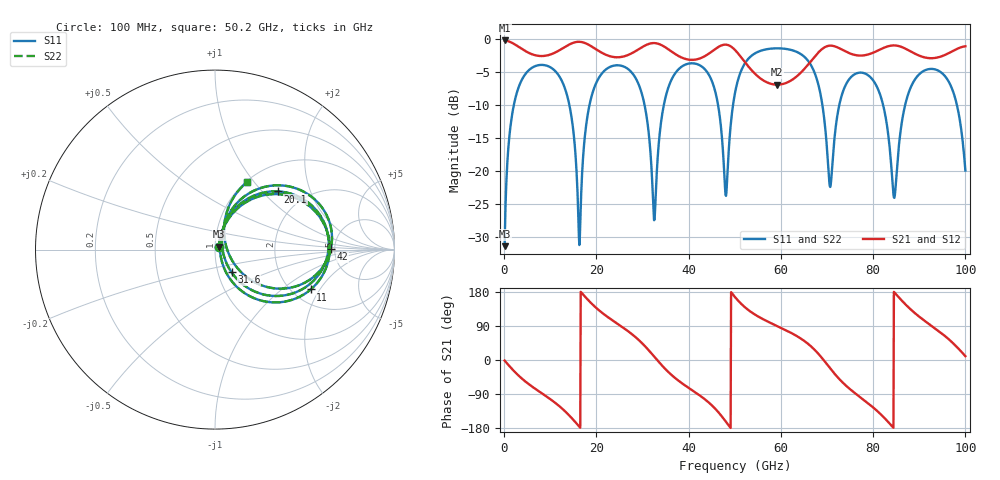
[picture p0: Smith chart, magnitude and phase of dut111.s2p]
! Touchstone file exported from HFSS 2026.1.0
!  File:  C:/ffzhzh/LocalFiles/Ansys_Project_Files/temp_train_TSV_RDL_111_1783635195_26216.aedt
!  Generated:  06:30:22 AM Jul 10, 2026
!  Design:  TSV_RDL
!  Project:  temp_train_TSV_RDL_111_1783635195_26216
! Variables:
!  h_bsmrdl = 2.13um
!  h_ox = 20um
!  h_rdl = 5um
!  h_sub = 59.66um
!  h_tmrdl = 4.13um
!  h_tsv = 59.66um
!  h_via = 3um
!  l_bsmrdl = 264.18um
!  l_sub = 3810.46um
!  l_tmrdl = 625.83um
!  m_sub = 200um
!  pitch = 54.84um
!  r_tsv = 6.76um
!  s_tmrdl = 10um
!  w_bsmrdl = 22.49um
!  w_sub = 500um
!  w_tmrdl = 15.71um
!  x_tsv_center1 = 633.685um
!  x_tsv_center2 = 920.355um
!  x_tsv_center3 = 1561.895um
!  x_tsv_center4 = 1848.565um
!  x_tsv_center5 = 2490.105um
!  x_tsv_center6 = 2776.775um
# GHz S MA R 50.000000
! Terminal data exported
! Port[1] = TM_RDL1_1_T1
! Port[2] = TM_RDL5_1_T1
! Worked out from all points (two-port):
!   1000 points, 100 MHz to 100 GHz, reference 50 ohm
!   highest |S21| = -0.18 dB at 100 MHz (marker M1); lowest = -6.9 dB at 59.2 GHz (marker M2)
!   |S21| within 3 dB of the highest: start of sweep to 51.88 GHz; 66.67 GHz to end of sweep
!   lowest |S11| = -31.3 dB at 100 MHz (marker M3), VSWR 1.06, Z = 52.2 + j1.75 ohm
!   |S11| at or under -10 dB: 14.15 GHz to 18.49 GHz (4.338 GHz wide, 26.6 % of centre); 30.45 GHz to 34.61 GHz (4.154 GHz wide, 12.8 % of centre); 82.17 GHz to 86.92 GHz (4.749 GHz wide, 5.62 % of centre) (the widest 3 of 7)
!   |S22| runs from -31.3 to -1.4 dB; largest |S21 - S12| = 3.3e-13
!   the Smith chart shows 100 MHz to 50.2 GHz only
!   S11 on the Smith chart (normalised r, x): 100 MHz: 1.04, +0.03; 11 GHz: 2.49, -1.66; 20.1 GHz: 1.47, +1.23; 31.6 GHz: 1.16, -0.30; 42 GHz: 4.63, +0.04; 50.2 GHz: 1.01, +0.92
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0.1  0.02712 38.1  0.9789 -1.5  0.9789 -1.5  0.02712 38.1
! Gamma 0 0 0 0
! Port Impedance 50 0 50 0
3  0.4192 46.9  0.8827 -39.7  0.8827 -39.7  0.4192 46.9
11  0.5776 -22.6  0.7912 -112.4  0.7912 -112.4  0.5776 -22.6
16.8  0.08164 66.2  0.9517 177.1  0.9517 177.1  0.08167 66.0
20.1  0.4782 42.7  0.8318 136.0  0.8318 136.0  0.4781 42.7
27.8  0.5524 -21.6  0.7874 67.2  0.7874 67.2  0.5524 -21.6
31.6  0.1571 -53.8  0.9267 22.2  0.9267 22.2  0.157 -54.0
32.5  0.04265 -1.7  0.9354 9.4  0.9354 9.4  0.04228 -1.8
33.4  0.1442 69.1  0.9243 -3.3  0.9243 -3.3  0.1441 69.3
42  0.6449 0.2  0.7076 -90.1  0.7076 -90.1  0.6449 0.2
48  0.06661 3.7  0.9102 -161.6  0.9102 -161.6  0.06674 3.7
50.1  0.4004 65.6  0.8259 165.4  0.8259 165.4  0.4003 65.7
50.2  0.4165 64.6  0.8188 163.9  0.8188 163.9  0.4165 64.6
59.2  0.8537 -0.8  0.4528 89.5  0.4528 89.5  0.8537 -0.8
66.7  0.6203 -50.5  0.6948 34.1  0.6948 34.1  0.6202 -50.5
70.7  0.0761 -18.2  0.8945 -22.2  0.8945 -22.2  0.07642 -18.1
73.9  0.4394 18.8  0.8119 -65.3  0.8119 -65.3  0.4395 18.8
83.4  0.1738 -55.9  0.8877 -165.3  0.8877 -165.3  0.1741 -55.7
84.7  0.06572 13.5  0.8976 177.0  0.8976 177.0  0.06646 13.3
90.3  0.5554 18.6  0.744 111.4  0.744 111.4  0.5555 18.6
96.6  0.4618 -32.7  0.7918 52.5  0.7918 52.5  0.462 -32.6
100  0.1014 -35.8  0.8844 10.1  0.8844 10.1  0.1021 -35.5
